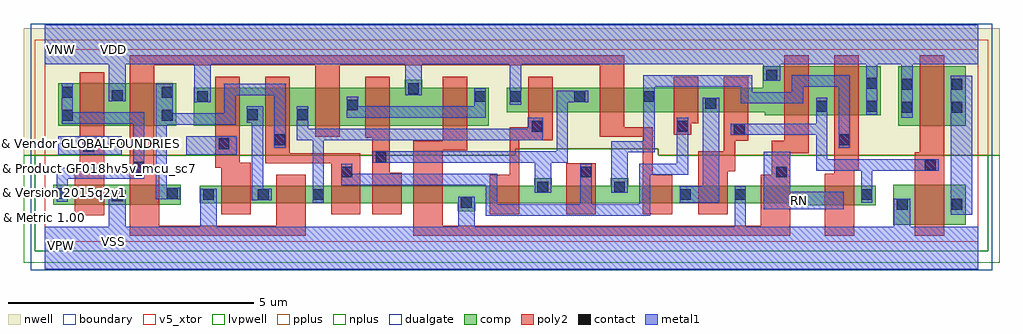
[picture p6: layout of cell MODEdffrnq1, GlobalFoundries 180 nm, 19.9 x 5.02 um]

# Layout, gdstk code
import gdstk
lib = gdstk.Library(unit=1e-6, precision=1e-09)
def R(c, l, rs):  # rectangles x0, y0, x1, y1
    for r in rs: c.add(gdstk.rectangle(r[:2], r[2:], *l))
def A(c, l, x, y, w, h, nx, ny, dx, dy):  # array of equal rectangles
    R(c, l, [(x+i*dx, y+j*dy, x+i*dx+w, y+j*dy+h) for i in range(nx) for j in range(ny)])
def P(c, l, *ps):  # polygons
    for p in ps: c.add(gdstk.Polygon(p, *l))
boundary = (0, 0)
nwell = (21, 0)
comp = (22, 0)
poly2 = (30, 0)
pplus = (31, 0)
nplus = (32, 0)
contact = (33, 0)
metal1 = (34, 0)
dualgate = (55, 0)
v5_xtor = (112, 1)
lvpwell = (204, 0)

modedffrnq1 = lib.new_cell('MODEdffrnq1')
R(modedffrnq1, boundary, [(34.015,23.465,53.055,27.385)])
P(modedffrnq1, nwell, [(33.585,25.225),(33.585,27.815),(53.485,27.815),(53.485,25.225),(46.53,25.225),(46.53,25.36),(43.615,25.36),(43.615,25.225)])
R(modedffrnq1, comp, [(51.32,23.81,52.8,24.625), (34.195,24.22,36.795,24.625), (34.295,25.825,36.695,26.69), (51.42,25.825,52.8,27.04)])
P(modedffrnq1, comp, [(37.055,25.825),(37.055,26.605),(41.355,26.605),(41.355,26.765),(41.715,26.765),(41.715,26.605),(43.075,26.605),(43.075,25.825)],
  [(42.435,24.085),(42.435,24.245),(37.175,24.245),(37.175,24.605),(43.995,24.605),(43.995,24.76),(44.355,24.76),(44.355,24.605),(45.555,24.605),(45.555,24.76),(45.915,24.76),(45.915,24.605),(50.96,24.605),(50.96,24.205),(49.52,24.205),(49.52,24.245),(42.795,24.245),(42.795,24.085)],
  [(48.7,26.045),(48.7,26.1),(43.435,26.1),(43.435,26.605),(48.66,26.605),(48.66,27.045),(51.06,27.045),(51.06,26.045)])
R(modedffrnq1, poly2, [(44.655,24.025,45.255,25.065)])
P(modedffrnq1, poly2, [(34.635,24),(34.635,24.905),(34.735,24.905),(34.735,26.915),(35.235,26.915),(35.235,24)],
  [(37.615,24.025),(37.615,24.975),(37.495,24.975),(37.495,26.825),(37.995,26.825),(37.995,25.075),(38.215,25.075),(38.215,24.025)],
  [(39.855,24.025),(39.855,25.065),(38.515,25.065),(38.515,26.825),(39.015,26.825),(39.015,25.265),(40.455,25.265),(40.455,24.025)],
  [(40.695,24.025),(40.695,25.58),(40.555,25.58),(40.555,26.825),(41.055,26.825),(41.055,24.865),(41.295,24.865),(41.295,24.025)],
  [(43.095,24.025),(43.095,24.825),(43.495,24.825),(43.495,25.8),(43.875,25.8),(43.875,26.825),(44.375,26.825),(44.375,25.535),(43.695,25.535),(43.695,24.025)],
  [(35.755,23.585),(35.755,27.265),(45.835,27.265),(45.835,25.8),(46.415,25.8),(46.415,24.825),(46.815,24.825),(46.815,24.025),(46.215,24.025),(46.215,25.6),(45.335,25.6),(45.335,27.065),(40.035,27.065),(40.035,25.605),(39.535,25.605),(39.535,27.065),(36.255,27.065),(36.255,24.905),(36.355,24.905),(36.355,23.785),(38.735,23.785),(38.735,24.825),(39.335,24.825),(39.335,23.585)],
  [(46.84,25.64),(46.84,26.825),(47.34,26.825),(47.34,25.88),(47.2,25.88),(47.2,25.64)],
  [(47.34,24.025),(47.34,25.305),(47.86,25.305),(47.86,26.825),(48.36,26.825),(48.36,25.525),(48.1,25.525),(48.1,24.905),(47.94,24.905),(47.94,24.025)],
  [(41.535,23.585),(41.535,25.525),(42.135,25.525),(42.135,26.825),(42.635,26.825),(42.635,25.325),(42.135,25.325),(42.135,23.785),(48.62,23.785),(48.62,24.825),(48.84,24.825),(48.84,25.525),(49.1,25.525),(49.1,27.265),(49.6,27.265),(49.6,25.27),(49.22,25.27),(49.22,23.585)],
  [(49.92,23.585),(49.92,24.845),(50.12,24.845),(50.12,27.265),(50.62,27.265),(50.62,24.925),(50.52,24.925),(50.52,23.585)],
  [(51.76,23.585),(51.76,25.285),(51.86,25.285),(51.86,27.265),(52.36,27.265),(52.36,23.585)])
P(modedffrnq1, pplus, [(33.815,25.225),(33.815,27.585),(53.255,27.585),(53.255,25.225),(46.53,25.225),(46.53,25.36),(43.615,25.36),(43.615,25.225)])
P(modedffrnq1, nplus, [(33.815,23.265),(33.815,25.225),(43.615,25.225),(43.615,25.36),(46.53,25.36),(46.53,25.225),(53.255,25.225),(53.255,23.265)])
A(modedffrnq1, contact, 37.245, 24.315, 0.22, 0.22, 3, 1, 1.12, 0)
R(modedffrnq1, contact, [(51.39,24.115,51.61,24.335), (52.51,24.115,52.73,24.335), (42.505,24.155,42.725,24.375), (35.385,24.29,35.605,24.51), (46.97,24.315,47.19,24.535), (48.09,24.315,48.31,24.535), (50.67,24.315,50.89,24.535), (34.265,24.335,34.485,24.555), (36.505,24.335,36.725,24.555), (44.065,24.47,44.285,24.69), (45.625,24.47,45.845,24.69), (40.065,24.775,40.285,24.995), (44.945,24.775,45.165,24.995), (48.93,24.775,49.15,24.995), (35.825,24.87,36.045,25.09), (51.965,24.92,52.185,25.14), (40.765,25.08,40.985,25.3), (34.805,25.3,35.025,25.52), (37.565,25.35,37.785,25.57), (38.705,25.435,38.925,25.655), (50.21,25.435,50.43,25.655), (48.07,25.645,48.29,25.865), (43.945,25.71,44.165,25.93), (46.91,25.71,47.13,25.93), (34.365,25.93,34.585,26.15), (36.405,25.93,36.625,26.15), (38.145,25.945,38.365,26.165), (39.165,25.945,39.385,26.165), (51.49,26.095,51.71,26.315), (52.51,26.095,52.73,26.315), (49.75,26.115,49.97,26.335), (50.77,26.115,50.99,26.335), (40.185,26.14,40.405,26.36), (47.49,26.17,47.71,26.39), (37.125,26.315,37.345,26.535), (42.785,26.315,43.005,26.535), (43.505,26.315,43.725,26.535), (44.815,26.315,45.035,26.535), (46.23,26.315,46.45,26.535), (35.385,26.335,35.605,26.555), (34.365,26.4,34.585,26.62), (36.405,26.4,36.625,26.62), (41.425,26.475,41.645,26.695), (51.49,26.565,51.71,26.785), (52.51,26.565,52.73,26.785), (50.77,26.585,50.99,26.805), (48.73,26.75,48.95,26.97)])
R(modedffrnq1, metal1, [(52.49,24.015,52.925,26.845), (34.295,25.235,35.585,25.615), (36.905,25.235,37.935,25.615)])
P(modedffrnq1, metal1, [(34.015,22.905),(34.015,23.765),(35.325,23.765),(35.325,24.515),(35.67,24.515),(35.67,23.765),(37.185,23.765),(37.185,24.54),(37.525,24.54),(37.525,23.765),(42.445,23.765),(42.445,24.38),(42.785,24.38),(42.785,23.765),(48.085,23.765),(48.085,24.595),(48.315,24.595),(48.315,23.765),(51.33,23.765),(51.33,24.34),(51.67,24.34),(51.67,23.765),(53.055,23.765),(53.055,22.905)],
  [(51.485,25.995),(51.485,27.085),(50.995,27.085),(50.995,26.055),(50.765,26.055),(50.765,27.085),(49.01,27.085),(49.01,26.745),(48.67,26.745),(48.67,27.085),(43.73,27.085),(43.73,26.255),(43.5,26.255),(43.5,27.085),(41.705,27.085),(41.705,26.455),(41.365,26.455),(41.365,27.085),(37.405,27.085),(37.405,26.31),(37.065,26.31),(37.065,27.085),(35.665,27.085),(35.665,26.33),(35.325,26.33),(35.325,27.085),(34.015,27.085),(34.015,27.885),(53.055,27.885),(53.055,27.085),(51.715,27.085),(51.715,25.995)],
  [(34.26,24.275),(34.26,24.975),(35.82,24.975),(35.82,25.87),(34.36,25.87),(34.36,26.69),(34.59,26.69),(34.59,26.1),(36.05,26.1),(36.05,24.745),(34.49,24.745),(34.49,24.275)],
  [(38.24,24.31),(38.24,25.885),(38.14,25.885),(38.14,26.225),(38.47,26.225),(38.47,24.54),(38.645,24.54),(38.645,24.31)],
  [(36.28,24.33),(36.28,26.68),(36.63,26.68),(36.63,26.08),(37.68,26.08),(37.68,26.685),(38.93,26.685),(38.93,25.375),(38.7,25.375),(38.7,26.455),(37.91,26.455),(37.91,25.85),(36.51,25.85),(36.51,24.56),(36.785,24.56),(36.785,24.33)],
  [(40.18,25.995),(40.18,26.42),(40.41,26.42),(40.41,26.225),(42.78,26.225),(42.78,26.595),(43.01,26.595),(43.01,25.995)],
  [(39.48,24.255),(39.48,25.535),(39.16,25.535),(39.16,26.225),(39.39,26.225),(39.39,25.765),(43.87,25.765),(43.87,25.99),(44.17,25.99),(44.17,25.535),(39.71,25.535),(39.71,24.255)],
  [(44.005,24.465),(44.005,25.075),(40.705,25.075),(40.705,25.305),(44.455,25.305),(44.455,26.54),(45.095,26.54),(45.095,26.31),(44.685,26.31),(44.685,25.075),(44.345,25.075),(44.345,24.465)],
  [(43.015,23.995),(43.015,24.615),(40.06,24.615),(40.06,25.055),(40.29,25.055),(40.29,24.845),(43.245,24.845),(43.245,24.225),(44.94,24.225),(44.94,25.055),(45.17,25.055),(45.17,24.225),(46.135,24.225),(46.135,25.055),(46.905,25.055),(46.905,25.99),(47.135,25.99),(47.135,24.825),(46.365,24.825),(46.365,23.995)],
  [(46.965,24.255),(46.965,24.595),(47.43,24.595),(47.43,26.395),(47.77,26.395),(47.77,24.255)],
  [(48.675,24.125),(48.675,25.295),(49.22,25.295),(49.22,24.485),(50.31,24.485),(50.31,24.125)],
  [(45.565,24.465),(45.565,25.515),(46.225,25.515),(46.225,26.855),(48.44,26.855),(48.44,26.515),(49.25,26.515),(49.25,26.855),(50.435,26.855),(50.435,25.375),(50.205,25.375),(50.205,26.625),(49.48,26.625),(49.48,26.285),(48.21,26.285),(48.21,26.625),(46.455,26.625),(46.455,25.285),(45.905,25.285),(45.905,24.465)],
  [(50.665,24.255),(50.665,24.915),(49.745,24.915),(49.745,25.64),(48.01,25.64),(48.01,25.87),(49.745,25.87),(49.745,26.395),(49.975,26.395),(49.975,25.145),(52.245,25.145),(52.245,24.915),(50.895,24.915),(50.895,24.255)])
R(modedffrnq1, dualgate, [(33.735,22.885,53.335,27.905)])
R(modedffrnq1, v5_xtor, [(34.015,23.465,53.055,27.385)])
P(modedffrnq1, lvpwell, [(33.585,23.035),(33.585,25.225),(43.615,25.225),(43.615,25.36),(46.53,25.36),(46.53,25.225),(53.485,25.225),(53.485,23.035)])
modedffrnq1.add(gdstk.Label('& Vendor GLOBALFOUNDRIES', (34.015,25.465), layer=63, texttype=63))
modedffrnq1.add(gdstk.Label('& Product GF018hv5v_mcu_sc7', (34.015,24.965), layer=63, texttype=63))
modedffrnq1.add(gdstk.Label('& Version 2015q2v1', (34.015,24.465), layer=63, texttype=63))
modedffrnq1.add(gdstk.Label('& Metric 1.00', (34.015,23.965), layer=63, texttype=63))
modedffrnq1.add(gdstk.Label('RN', (49.415,24.305), layer=34, texttype=10))
modedffrnq1.add(gdstk.Label('VSS', (35.415,23.465), layer=34, texttype=10))
modedffrnq1.add(gdstk.Label('CLK', (34.855,25.425), layer=34, texttype=10))
modedffrnq1.add(gdstk.Label('VDD', (35.415,27.385), layer=34, texttype=10))
modedffrnq1.add(gdstk.Label('VNW', (34.36,27.385), layer=21, texttype=10))
modedffrnq1.add(gdstk.Label('VPW', (34.355,23.38), layer=204, texttype=10))

lib.write_gds('MODEdffrnq1.gds')
